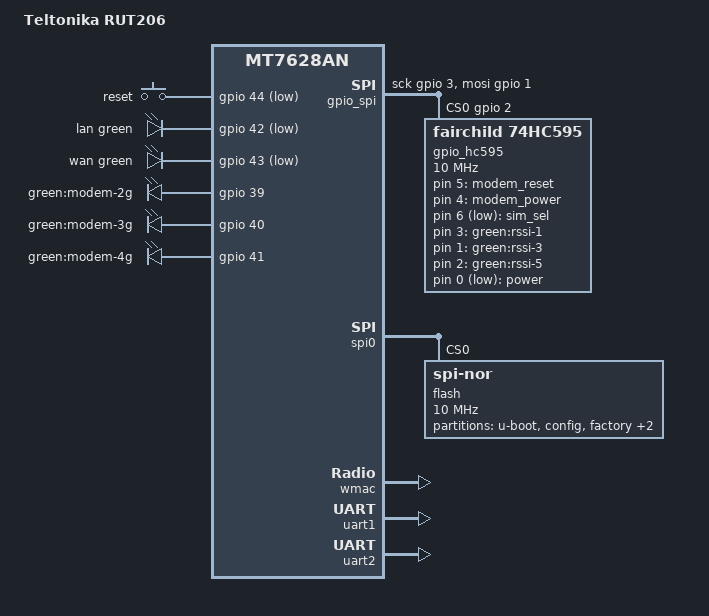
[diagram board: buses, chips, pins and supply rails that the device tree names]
// SPDX-License-Identifier: GPL-2.0-or-later OR MIT

#include <dt-bindings/input/input.h>
#include <dt-bindings/gpio/gpio.h>
#include <dt-bindings/leds/common.h>
#include "mt7628an.dtsi"

/ {
	compatible = "teltonika,rut206", "teltonika,rute", "mediatek,mt7628an-soc";
	model = "Teltonika RUT206";

	chosen {
		bootargs = "console=ttyS0,115200";
	};

	gpio_spi {
		compatible = "spi-gpio";
		#address-cells = <1>;
		#size-cells = <0>;

		sck-gpios = <&gpio 3 GPIO_ACTIVE_HIGH>;  // SRCLK
		mosi-gpios = <&gpio 1 GPIO_ACTIVE_HIGH>; // SER
		cs-gpios = <&gpio 2 GPIO_ACTIVE_HIGH>;  // RCLK
		num-chipselects = <1>;

		gpio_hc595: gpio_hc595@0 {
			compatible = "fairchild,74hc595";
			reg = <0>;
			gpio-controller;
			#gpio-cells = <2>;
			registers-number = <1>;
			spi-max-frequency = <10000000>;
		};
	};

	gpio-export {
		compatible = "gpio-export";
		#size-cells = <0>;

		gpio_modem_reset {
			gpio-export,name = "modem_reset";
			gpio-export,output = <0>;
			gpios = <&gpio_hc595 5 GPIO_ACTIVE_HIGH>;
		};

		gpio_modem_power {
			gpio-export,name = "modem_power";
			gpio-export,output = <0>;
			gpios = <&gpio_hc595 4 GPIO_ACTIVE_HIGH>;
		};

		gpio_sim_select {
			gpio-export,name = "sim_sel";
			gpio-export,output = <0>;
			gpios = <&gpio_hc595 6 GPIO_ACTIVE_LOW>;
		};
	};

	keys {
		compatible = "gpio-keys";

		reset {
			label = "reset";
			gpios = <&gpio 44 GPIO_ACTIVE_LOW>;
			linux,code = <KEY_RESTART>;
		};
	};

	leds {
		compatible = "gpio-leds";

		lan {
			function = LED_FUNCTION_LAN;
			color = <LED_COLOR_ID_GREEN>;
			gpios = <&gpio 42 GPIO_ACTIVE_LOW>;
		};

		wan {
			function = LED_FUNCTION_WAN;
			color = <LED_COLOR_ID_GREEN>;
			gpios = <&gpio 43 GPIO_ACTIVE_LOW>;
		};

		modem_2g {
			label = "green:modem-2g";
			gpios = <&gpio 39 GPIO_ACTIVE_HIGH>;
		};

		modem_3g {
			label = "green:modem-3g";
			gpios = <&gpio 40 GPIO_ACTIVE_HIGH>;
		};

		modem_4g {
			label = "green:modem-4g";
			gpios = <&gpio 41 GPIO_ACTIVE_HIGH>;
		};

		rssi1 {
			label = "green:rssi-1";
			gpios = <&gpio_hc595 3 GPIO_ACTIVE_HIGH>;
		};

		rssi3 {
			label = "green:rssi-3";
			gpios = <&gpio_hc595 1 GPIO_ACTIVE_HIGH>;
		};

		rssi5 {
			label = "green:rssi-5";
			gpios = <&gpio_hc595 2 GPIO_ACTIVE_HIGH>;
		};

		power {
			label = "power";
			gpios = <&gpio_hc595 0 GPIO_ACTIVE_LOW>;
			default-state = "on";
			retain-state-shutdown;
		};

	};
};

&state_default {
	gpio {
		groups = "i2s", "p4led_an", "p3led_an", "p2led_an", "p1led_an", "p0led_an", "gpio", "wled_an", "perst";
		function = "gpio";
	};
};

&spi0 {
	status = "okay";

	flash@0 {
		compatible = "jedec,spi-nor";
		reg = <0>;
		spi-max-frequency = <10000000>;

		partitions {
			compatible = "fixed-partitions";
			#address-cells = <1>;
			#size-cells = <1>;

			boot: partition@0 {
				label = "u-boot";
				reg = <0x0 0x40000>;
				read-only;
			};

			config: partition@40000 {
    			label = "config";
    			reg = <0x040000 0x010000>;
    			read-only;

    			nvmem-layout {
    			    compatible = "fixed-layout";
    			    #address-cells = <1>;
    			    #size-cells = <1>;

    			    macaddr_config_0: macaddr@0 {
    			        reg = <0x0 0x6>;
    			        compatible = "mac-base";
    			        #nvmem-cell-cells = <1>;
    			    };
    			};
			};

			factory: partition@50000 {
				label = "factory";
				reg = <0x050000 0x030000>;
				read-only;
			};

			partition@80000 {
				compatible = "denx,uimage";
				label = "firmware";
				reg = <0x080000 0x1ED0000>;
			};

			partition@1f50000 {
				label = "event-log";
				reg = <0x1F50000 0xB0000>;
			};
		};
	};
};

&wmac {
&wmac {
	status = "okay";
	nvmem-cells = <&eeprom_factory_0>, <&macaddr_config_0 2>;
	nvmem-cell-names = "eeprom", "mac-address";
};
};

&ethernet {
	nvmem-cells = <&macaddr_config_0 0>;
	nvmem-cell-names = "mac-address";
};

&esw {
	mediatek,portmap = <0x3e>;
};

&uart1 {
	status = "okay";
};

&uart2 {
	status = "okay";
};
